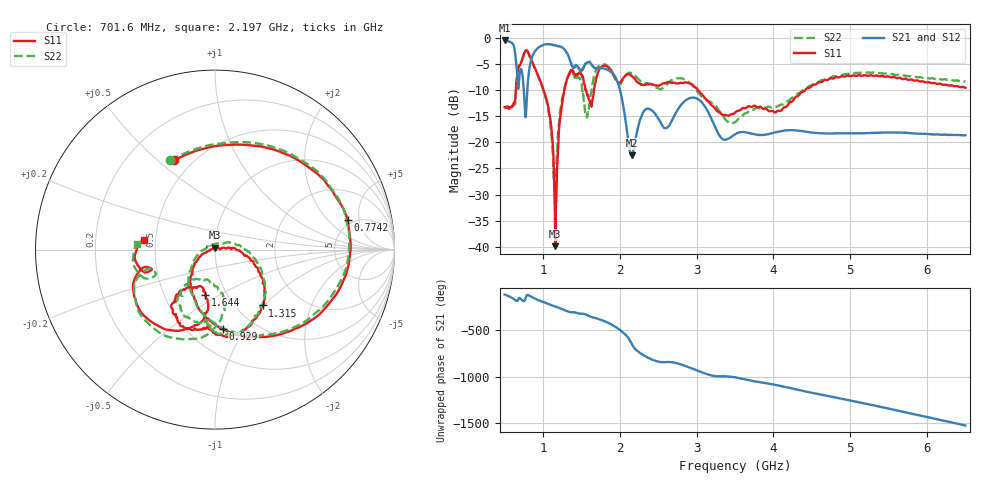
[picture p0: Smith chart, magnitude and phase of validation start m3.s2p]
# Hz S DB R 50
! CMT, S5065, 24347010, 24.3.4/3
! Date: 10/15/2024 10:11:41 PM
! Data: Format (Calibration Info)
! Freq	S11:dB/Ang(F2)	S21:dB/Ang(F2)	S12:dB/Ang(F2)	S22:dB/Ang(F2)
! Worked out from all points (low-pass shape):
!   10001 points, 500 MHz to 6.5 GHz, reference 50 ohm
!   highest |S21| = -0.55 dB at 500 MHz (marker M1); lowest = -22.5 dB at 2.153 GHz (marker M2)
!   |S21| within 3 dB of the highest: start of sweep to 640.9 MHz; 861.2 MHz to 1.33 GHz (469.1 MHz wide, 42.8 % of centre)
!   lowest |S11| = -39.8 dB at 1.161 GHz (marker M3), VSWR 1.02, Z = 49.9 + j1.01 ohm
!   |S11| at or under -10 dB: start of sweep to 646 MHz; 1.005 GHz to 1.278 GHz (272.4 MHz wide, 23.9 % of centre); 3.018 GHz to 4.417 GHz (1.399 GHz wide, 37.6 % of centre)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
!   |S22| runs from -32.0 to -2.5 dB; largest |S21 - S12| = 0.0041
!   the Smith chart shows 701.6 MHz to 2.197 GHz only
!   S11 on the Smith chart (normalised r, x): 701.6 MHz: 0.40, +0.57; 774.2 MHz: 4.51, +3.43; 929 MHz: 0.72, -0.80; 1.315 GHz: 1.31, -0.98; 1.644 GHz: 0.80, -0.43; 2.197 GHz: 0.43, +0.06
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5e8  -13.29 -30.9  -0.55 -123.5  -0.55 -123.5  -13.33 -33.3
6.422e8  -11.06 -98.0  -3.77 171.5  -3.76 171.5  -11.61 -104.0
7.016e8  -5.25 114.4  -6.38 -164.1  -6.38 -164.0  -5.11 116.5
7.742e8  -2.43 12.4  -15.14 -157.3  -15.12 -157.2  -2.49 16.5
8.39e8  -4.00 -44.0  -4.64 -144.0  -4.62 -144.0  -3.96 -40.8
9.29e8  -7.00 -84.3  -2.03 -179.3  -2.02 -179.2  -7.06 -83.3
1.0814e9  -14.59 -132.5  -1.24 132.1  -1.23 132.1  -15.09 -139.9
1.1606e9  -39.84 96.2  -1.53 108.3  -1.52 108.4  -28.52 66.8
1.3154e9  -7.75 -49.5  -3.10 58.1  -3.10 58.2  -7.87 -49.2
1.5002e9  -7.11 -118.3  -6.33 32.1  -6.33 32.1  -8.73 -123.2
1.571e9  -10.68 -129.3  -4.80 17.8  -4.79 18.0  -15.18 -107.2
1.6442e9  -11.83 -102.0  -5.37 -7.3  -5.36 -7.4  -8.84 -83.2
1.8914e9  -6.32 -159.1  -6.62 -83.2  -6.61 -83.2  -6.35 -157.6
2.0078e9  -8.53 -162.1  -10.30 -147.0  -10.29 -147.0  -8.89 -156.9
2.153e9  -7.33 177.7  -22.52 72.6  -22.52 72.4  -6.82 -175.8
2.1974e9  -7.92 172.1  -19.92 17.1  -19.95 17.1  -7.19 176.0
2.5004e9  -9.18 158.1  -15.44 -120.7  -15.45 -121.0  -9.70 156.9
2.9762e9  -9.41 110.3  -11.51 154.3  -11.49 154.0  -9.70 107.7
3.5e9  -14.37 110.6  -18.47 71.7  -18.48 71.2  -16.17 111.2
4.5002e9  -9.19 90.1  -18.13 -93.7  -18.15 -94.3  -9.13 91.3
5.5004e9  -7.43 9.8  -18.14 96.5  -18.17 96.0  -6.99 8.8
6.5e9  -9.57 -67.1  -18.66 -83.5  -18.70 -82.8  -8.41 -67.7
